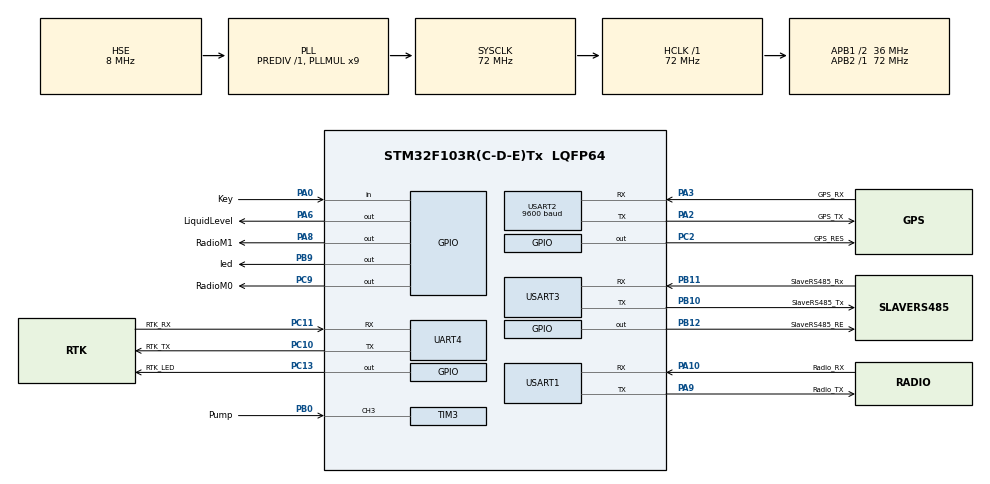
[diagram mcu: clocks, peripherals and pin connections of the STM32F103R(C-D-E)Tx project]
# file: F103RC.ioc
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Dma.Request0=USART1_RX
Dma.Request1=USART1_TX
Dma.Request2=USART3_TX
Dma.Request3=USART3_RX
Dma.Request4=UART4_TX
Dma.Request5=UART4_RX
Dma.UART4_RX.5.Direction=DMA_PERIPH_TO_MEMORY
Dma.UART4_RX.5.Instance=DMA2_Channel3
Dma.UART4_RX.5.MemDataAlignment=DMA_MDATAALIGN_BYTE
Dma.UART4_RX.5.MemInc=DMA_MINC_ENABLE
Dma.UART4_RX.5.Mode=DMA_NORMAL
Dma.UART4_RX.5.PeriphDataAlignment=DMA_PDATAALIGN_BYTE
Dma.UART4_RX.5.PeriphInc=DMA_PINC_DISABLE
Dma.UART4_RX.5.Priority=DMA_PRIORITY_LOW
Dma.UART4_TX.4.Direction=DMA_MEMORY_TO_PERIPH
Dma.UART4_TX.4.Instance=DMA2_Channel5
Dma.UART4_TX.4.MemDataAlignment=DMA_MDATAALIGN_BYTE
Dma.UART4_TX.4.MemInc=DMA_MINC_ENABLE
Dma.UART4_TX.4.Mode=DMA_NORMAL
Dma.UART4_TX.4.PeriphDataAlignment=DMA_PDATAALIGN_BYTE
Dma.UART4_TX.4.PeriphInc=DMA_PINC_DISABLE
Dma.UART4_TX.4.Priority=DMA_PRIORITY_LOW
Dma.USART1_RX.0.Direction=DMA_PERIPH_TO_MEMORY
Dma.USART1_RX.0.Instance=DMA1_Channel5
Dma.USART1_RX.0.MemDataAlignment=DMA_MDATAALIGN_BYTE
Dma.USART1_RX.0.MemInc=DMA_MINC_ENABLE
Dma.USART1_RX.0.Mode=DMA_NORMAL
Dma.USART1_RX.0.PeriphDataAlignment=DMA_PDATAALIGN_BYTE
Dma.USART1_RX.0.PeriphInc=DMA_PINC_DISABLE
Dma.USART1_RX.0.Priority=DMA_PRIORITY_LOW
Dma.USART1_TX.1.Direction=DMA_MEMORY_TO_PERIPH
Dma.USART1_TX.1.Instance=DMA1_Channel4
Dma.USART1_TX.1.MemDataAlignment=DMA_MDATAALIGN_BYTE
Dma.USART1_TX.1.MemInc=DMA_MINC_ENABLE
Dma.USART1_TX.1.Mode=DMA_NORMAL
Dma.USART1_TX.1.PeriphDataAlignment=DMA_PDATAALIGN_BYTE
Dma.USART1_TX.1.PeriphInc=DMA_PINC_DISABLE
Dma.USART1_TX.1.Priority=DMA_PRIORITY_LOW
Dma.USART3_RX.3.Direction=DMA_PERIPH_TO_MEMORY
Dma.USART3_RX.3.Instance=DMA1_Channel3
Dma.USART3_RX.3.MemDataAlignment=DMA_MDATAALIGN_BYTE
Dma.USART3_RX.3.MemInc=DMA_MINC_ENABLE
Dma.USART3_RX.3.Mode=DMA_NORMAL
Dma.USART3_RX.3.PeriphDataAlignment=DMA_PDATAALIGN_BYTE
Dma.USART3_RX.3.PeriphInc=DMA_PINC_DISABLE
Dma.USART3_RX.3.Priority=DMA_PRIORITY_LOW
Dma.USART3_TX.2.Direction=DMA_MEMORY_TO_PERIPH
Dma.USART3_TX.2.Instance=DMA1_Channel2
Dma.USART3_TX.2.MemDataAlignment=DMA_MDATAALIGN_BYTE
Dma.USART3_TX.2.MemInc=DMA_MINC_ENABLE
Dma.USART3_TX.2.Mode=DMA_NORMAL
Dma.USART3_TX.2.PeriphDataAlignment=DMA_PDATAALIGN_BYTE
Dma.USART3_TX.2.PeriphInc=DMA_PINC_DISABLE
Dma.USART3_TX.2.Priority=DMA_PRIORITY_LOW
FREERTOS.BinarySemaphores01=UpperComBinSem,Dynamic,NULL;UARTControlBinSem,Dynamic,NULL;PumpOffBinSem,Dynamic,NULL;UpperRTK_BinSem,Dynamic,NULL;RecCoordBinSem,Dynamic,NULL
FREERTOS.Tasks01=SlaveContTask,2,1024,StartSlaveControlTask,Default,NULL,Dynamic,NULL,NULL;EXTIISRTask,1,512,StartEXTIISRTask,Default,NULL,Dynamic,NULL,NULL;IWDGTask,-2,128,StartIWDGTask,Default,NULL,Dynamic,NULL,NULL
FREERTOS.Timers01=UpperRTK_Timer,UpperRTK_TimerCallback,osTimerOnce,Default,NULL,Dynamic,NULL
FREERTOS.configGENERATE_RUN_TIME_STATS=1
FREERTOS.configTOTAL_HEAP_SIZE=30720
FREERTOS.configUSE_STATS_FORMATTING_FUNCTIONS=1
FREERTOS.configUSE_TIMERS=1
FREERTOS.configUSE_TRACE_FACILITY=1
IWDG.Prescaler=IWDG_PRESCALER_64
IWDG.Reload=1875
Mcu.Family=STM32F1
Mcu.Name=STM32F103R(C-D-E)Tx
Mcu.Package=LQFP64
NVIC.DMA1_Channel2_IRQn=true\:5\:0\:false\:false\:true\:true\:false\:true\:true
NVIC.DMA1_Channel3_IRQn=true\:5\:0\:false\:false\:true\:true\:false\:true\:true
NVIC.DMA1_Channel4_IRQn=true\:5\:0\:false\:false\:true\:true\:false\:true\:true
NVIC.DMA1_Channel5_IRQn=true\:5\:0\:false\:false\:true\:true\:false\:true\:true
NVIC.DMA2_Channel3_IRQn=true\:5\:0\:false\:false\:true\:true\:false\:true\:true
NVIC.DMA2_Channel4_5_IRQn=true\:5\:0\:false\:false\:true\:true\:false\:true\:true
NVIC.PriorityGroup=NVIC_PRIORITYGROUP_4
NVIC.TIM3_IRQn=true\:5\:0\:false\:false\:true\:true\:true\:true\:true
NVIC.TIM4_IRQn=true\:6\:0\:true\:false\:true\:true\:true\:true\:true
NVIC.TIM6_IRQn=true\:15\:0\:false\:false\:true\:false\:false\:true\:true
NVIC.TIM7_IRQn=true\:11\:0\:true\:false\:true\:true\:true\:true\:true
NVIC.TimeBase=TIM6_IRQn
NVIC.TimeBaseIP=TIM6
NVIC.UART4_IRQn=true\:7\:0\:true\:false\:true\:true\:true\:true\:true
NVIC.USART1_IRQn=true\:10\:0\:true\:false\:true\:true\:true\:true\:true
NVIC.USART2_IRQn=true\:6\:0\:true\:false\:true\:true\:true\:true\:true
NVIC.USART3_IRQn=true\:9\:0\:true\:false\:true\:true\:true\:true\:true
PA0-WKUP.GPIO_Label=Key
PA0-WKUP.GPIO_PuPd=GPIO_PULLDOWN
PA0-WKUP.Signal=GPIO_Input
PA10.GPIO_Label=Radio_RX
PA10.GPIO_PuPd=GPIO_PULLUP
PA10.Mode=Asynchronous
PA10.Signal=USART1_RX
PA13.Mode=Serial_Wire
PA13.Signal=SYS_JTMS-SWDIO
PA14.Mode=Serial_Wire
PA14.Signal=SYS_JTCK-SWCLK
PA2.GPIO_Label=GPS_TX
PA2.Mode=Asynchronous
PA2.Signal=USART2_TX
PA3.GPIO_Label=GPS_RX
PA3.GPIO_PuPd=GPIO_PULLUP
PA3.Mode=Asynchronous
PA3.Signal=USART2_RX
PA6.GPIO_Label=LiquidLevel
PA6.GPIO_PuPd=GPIO_PULLUP
PA6.GPIO_Speed=GPIO_SPEED_FREQ_HIGH
PA6.Signal=GPIO_Output
PA8.GPIO_Label=RadioM1
PA8.GPIO_PuPd=GPIO_PULLUP
PA8.GPIO_Speed=GPIO_SPEED_FREQ_HIGH
PA8.Signal=GPIO_Output
PA9.GPIO_Label=Radio_TX
PA9.Mode=Asynchronous
PA9.Signal=USART1_TX
PB0.GPIO_Label=Pump
PB0.GPIO_PuPd=GPIO_PULLDOWN
PB0.Signal=S_TIM3_CH3
PB10.GPIO_Label=SlaveRS485_Tx
PB10.Mode=Asynchronous
PB10.Signal=USART3_TX
PB11.GPIO_Label=SlaveRS485_Rx
PB11.GPIO_PuPd=GPIO_PULLUP
PB11.Mode=Asynchronous
PB11.Signal=USART3_RX
PB12.GPIO_Label=SlaveRS485_RE
PB12.GPIO_PuPd=GPIO_PULLUP
PB12.GPIO_Speed=GPIO_SPEED_FREQ_HIGH
PB12.Signal=GPIO_Output
PB9.GPIO_Label=led
PB9.GPIO_Speed=GPIO_SPEED_FREQ_HIGH
PB9.Signal=GPIO_Output
PC10.GPIO_Label=RTK_TX
PC10.Mode=Asynchronous
PC10.Signal=UART4_TX
PC11.GPIO_Label=RTK_RX
PC11.GPIO_PuPd=GPIO_PULLUP
PC11.Mode=Asynchronous
PC11.Signal=UART4_RX
PC13-TAMPER-RTC.GPIO_Label=RTK_LED
PC13-TAMPER-RTC.GPIO_PuPd=GPIO_PULLUP
PC13-TAMPER-RTC.GPIO_Speed=GPIO_SPEED_FREQ_HIGH
PC13-TAMPER-RTC.Signal=GPIO_Output
PC2.GPIO_Label=GPS_RES
PC2.GPIO_PuPd=GPIO_PULLUP
PC2.GPIO_Speed=GPIO_SPEED_FREQ_HIGH
PC2.PinState=GPIO_PIN_SET
PC2.Signal=GPIO_Output
PC9.GPIO_Label=RadioM0
PC9.GPIO_PuPd=GPIO_PULLUP
PC9.GPIO_Speed=GPIO_SPEED_FREQ_HIGH
PC9.Signal=GPIO_Output
PD0-OSC_IN.Mode=HSE-External-Oscillator
PD0-OSC_IN.Signal=RCC_OSC_IN
PD1-OSC_OUT.Mode=HSE-External-Oscillator
PD1-OSC_OUT.Signal=RCC_OSC_OUT
ProjectManager.HeapSize=0x200
ProjectManager.StackSize=0x400
ProjectManager.TargetToolchain=MDK-ARM V5.32
RCC.AHBFreq_Value=72000000
RCC.APB1CLKDivider=RCC_HCLK_DIV2
RCC.APB1Freq_Value=36000000
RCC.APB1TimFreq_Value=72000000
RCC.APB2Freq_Value=72000000
RCC.APB2TimFreq_Value=72000000
RCC.HCLKFreq_Value=72000000
RCC.PLLMUL=RCC_PLL_MUL9
RCC.PLLSourceVirtual=RCC_PLLSOURCE_HSE
RCC.SYSCLKFreq_VALUE=72000000
RCC.SYSCLKSource=RCC_SYSCLKSOURCE_PLLCLK
RCC.USBFreq_Value=72000000
SH.S_TIM3_CH3.0=TIM3_CH3,Input_Capture3_from_TI3
TIM3.AutoReloadPreload=TIM_AUTORELOAD_PRELOAD_ENABLE
TIM3.Channel-Input_Capture3_from_TI3=TIM_CHANNEL_3
TIM3.ICFilter_CH3=15
TIM3.Prescaler=72-1
TIM4.AutoReloadPreload=TIM_AUTORELOAD_PRELOAD_ENABLE
TIM4.Period=100-1
TIM4.Prescaler=72-1
TIM7.Period=10000-1
TIM7.Prescaler=72-1
UART4.VirtualMode=Asynchronous
USART1.VirtualMode=VM_ASYNC
USART2.BaudRate=9600
USART2.VirtualMode=VM_ASYNC
USART3.VirtualMode=VM_ASYNC
VP_FREERTOS_VS_CMSIS_V1.Mode=CMSIS_V1
VP_IWDG_VS_IWDG.Mode=IWDG_Activate
VP_SYS_VS_tim6.Mode=TIM6
VP_TIM3_VS_ClockSourceINT.Mode=Internal
VP_TIM4_VS_ClockSourceINT.Mode=Internal
VP_TIM7_VS_ClockSourceINT.Mode=Enable_Timer
board=custom

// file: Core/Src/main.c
/* USER CODE BEGIN Header */
/**
  ******************************************************************************
  * @file           : main.c
  * @brief          : Main program body
  ******************************************************************************
  * @attention
  *
  * Copyright (c) 2024 STMicroelectronics.
  * All rights reserved.
  *
  * This software is licensed under terms that can be found in the LICENSE file
  * in the root directory of this software component.
  * If no LICENSE file comes with this software, it is provided AS-IS.
  *
  ******************************************************************************
  */
/* USER CODE END Header */
#include "main.h"
#include "cmsis_os.h"
#include "dma.h"
#include "iwdg.h"
#include "tim.h"
#include "usart.h"
#include "gpio.h"

/* USER CODE BEGIN Includes */
#include "Slave_USART.h"
#include "UpperCom_USART.h"
#include "tim_it.h"
#include "RTK_usart_it.h"
#include "flash.h"
#include "map_data.h"
#include <string.h>
/* USER CODE END Includes */

/* USER CODE BEGIN PTD */
RunGuidance_Structure RunGuidance_Struct;
/* USER CODE END PTD */

/* USER CODE BEGIN PV */
uint32_t g_osRuntimeCounter = 0;
char g_tasks_buf[512]; //用于存放显示数据
/* USER CODE END PV */

void SystemClock_Config(void);
void MX_FREERTOS_Init(void);

int main(void)
{

  /* MCU Configuration--------------------------------------------------------*/

  /* Reset of all peripherals, Initializes the Flash interface and the Systick. */
  HAL_Init();

  /* Configure the system clock */
  SystemClock_Config();

  /* Initialize all configured peripherals */
  MX_GPIO_Init();
  MX_DMA_Init();
  MX_USART1_UART_Init();
  MX_IWDG_Init();
  MX_USART3_UART_Init();
  MX_TIM3_Init();
  MX_TIM7_Init();
  MX_UART4_Init();
  MX_USART2_UART_Init();
  MX_TIM4_Init();
  /* USER CODE BEGIN 2 */
    __HAL_UART_ENABLE_IT(&huart1, UART_IT_IDLE);
    HAL_UART_Receive_DMA(&huart1, UART1_RxStruct.Rx_Buff, 200);

    __HAL_UART_ENABLE_IT(&huart3, UART_IT_IDLE);
    HAL_UART_Receive_DMA(&huart3, USART3_RxStruct.Rx_Buff, 200);

    __HAL_UART_ENABLE_IT(&huart4, UART_IT_IDLE);
    HAL_UART_Receive_DMA(&huart4, USART4_RxStruct.Rx_Buff, 200);

    HAL_TIM_Base_Start_IT(&htim7);
    HAL_TIM_Base_Start_IT(&htim4); //开启freeRtos系统计数定时器，要求中断时间至少为100us

    //开启定时器输入捕获和更新中断
    HAL_TIM_IC_Start_IT(&htim3, TIM_CHANNEL_3);
    __HAL_TIM_ENABLE_IT(&htim3, TIM_IT_UPDATE);

    HAL_UART_Transmit(&huart4, (uint8_t*)"重启系统\r\n", strlen((char*)"重启系统\r\n"),1000);

  /* USER CODE END 2 */

  /* Call init function for freertos objects (in freertos.c) */
  MX_FREERTOS_Init();

  /* Start scheduler */
  osKernelStart();
  /* We should never get here as control is now taken by the scheduler */
  /* Infinite loop */
    while (1)
    {

    }
}

void SystemClock_Config(void)
{
  RCC_OscInitTypeDef RCC_OscInitStruct = {0};
  RCC_ClkInitTypeDef RCC_ClkInitStruct = {0};

  /** Initializes the RCC Oscillators according to the specified parameters
  * in the RCC_OscInitTypeDef structure.
  */
  RCC_OscInitStruct.OscillatorType = RCC_OSCILLATORTYPE_LSI|RCC_OSCILLATORTYPE_HSE;
  RCC_OscInitStruct.HSEState = RCC_HSE_ON;
  RCC_OscInitStruct.HSEPredivValue = RCC_HSE_PREDIV_DIV1;
  RCC_OscInitStruct.HSIState = RCC_HSI_ON;
  RCC_OscInitStruct.LSIState = RCC_LSI_ON;
  RCC_OscInitStruct.PLL.PLLState = RCC_PLL_ON;
  RCC_OscInitStruct.PLL.PLLSource = RCC_PLLSOURCE_HSE;
  RCC_OscInitStruct.PLL.PLLMUL = RCC_PLL_MUL9;
  if (HAL_RCC_OscConfig(&RCC_OscInitStruct) != HAL_OK)
  {
    Error_Handler();
  }

  /** Initializes the CPU, AHB and APB buses clocks
  */
  RCC_ClkInitStruct.ClockType = RCC_CLOCKTYPE_HCLK|RCC_CLOCKTYPE_SYSCLK
                              |RCC_CLOCKTYPE_PCLK1|RCC_CLOCKTYPE_PCLK2;
  RCC_ClkInitStruct.SYSCLKSource = RCC_SYSCLKSOURCE_PLLCLK;
  RCC_ClkInitStruct.AHBCLKDivider = RCC_SYSCLK_DIV1;
  RCC_ClkInitStruct.APB1CLKDivider = RCC_HCLK_DIV2;
  RCC_ClkInitStruct.APB2CLKDivider = RCC_HCLK_DIV1;

  if (HAL_RCC_ClockConfig(&RCC_ClkInitStruct, FLASH_LATENCY_2) != HAL_OK)
  {
    Error_Handler();
  }
}

void HAL_TIM_PeriodElapsedCallback(TIM_HandleTypeDef *htim)
{
  if (htim->Instance == TIM6) {
    HAL_IncTick();
  }
  /* USER CODE BEGIN Callback 1 */
    if (htim->Instance == TIM7)
    {
        TIM7_PeriodElapsedCallback();
    }

    if (htim->Instance == TIM4) {

        g_osRuntimeCounter ++;

    }
  /* USER CODE END Callback 1 */
}

void Error_Handler(void)
{
    __disable_irq();
    while (1)
    {
    }
}

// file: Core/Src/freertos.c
/* USER CODE BEGIN Header */
/**
  ******************************************************************************
  * File Name          : freertos.c
  * Description        : Code for freertos applications
  ******************************************************************************
  * @attention
  *
  * Copyright (c) 2024 STMicroelectronics.
  * All rights reserved.
  *
  * This software is licensed under terms that can be found in the LICENSE file
  * in the root directory of this software component.
  * If no LICENSE file comes with this software, it is provided AS-IS.
  *
  ******************************************************************************
  */
/* USER CODE END Header */

#include "FreeRTOS.h"
#include "task.h"
#include "main.h"
#include "cmsis_os.h"

/* USER CODE BEGIN Includes */
#include "Slave_USART.h"
#include "UpperCom_USART.h"
#include "iwdg.h"
#include <string.h>
#include "GPS.h"
#include "system.h"
#include "RTK_usart_it.h"
#include "EdgeProcessing.h"
#include "RTK_usart_it.h"
#include "map_data.h"
#include <stdio.h>
/* USER CODE END Includes */

/* USER CODE BEGIN PTD */

extern double RTK_Longitude;
extern double RTK_Latitude;
extern double RTK_CourseAngle;
/* USER CODE END PTD */

/* USER CODE BEGIN PD */
//事件组标志
#define IWDG_Event_1 (0x01<<0)
#define IWDG_Event_2 (0x01<<1)
/* USER CODE END PD */

/* USER CODE BEGIN Variables */
EventGroupHandle_t IWDG_Event;//创建句柄
/* USER CODE END Variables */
osThreadId SlaveContTaskHandle;
osThreadId EXTIISRTaskHandle;
osThreadId IWDGTaskHandle;
osTimerId UpperRTK_TimerHandle;
osSemaphoreId UpperComBinSemHandle;
osSemaphoreId UARTControlBinSemHandle;
osSemaphoreId PumpOffBinSemHandle;
osSemaphoreId UpperRTK_BinSemHandle;
osSemaphoreId RecCoordBinSemHandle;

void StartSlaveControlTask(void const * argument);
void StartEXTIISRTask(void const * argument);
void StartIWDGTask(void const * argument);
void UpperRTK_TimerCallback(void const * argument);

void MX_FREERTOS_Init(void); /* (MISRA C 2004 rule 8.1) */

/* GetIdleTaskMemory prototype (linked to static allocation support) */
void vApplicationGetIdleTaskMemory( StaticTask_t **ppxIdleTaskTCBBuffer, StackType_t **ppxIdleTaskStackBuffer, uint32_t *pulIdleTaskStackSize );

/* GetTimerTaskMemory prototype (linked to static allocation support) */
void vApplicationGetTimerTaskMemory( StaticTask_t **ppxTimerTaskTCBBuffer, StackType_t **ppxTimerTaskStackBuffer, uint32_t *pulTimerTaskStackSize );

/* Hook prototypes */
void configureTimerForRunTimeStats(void);
unsigned long getRunTimeCounterValue(void);

/* USER CODE BEGIN 1 */
extern uint32_t g_osRuntimeCounter;
/* Functions needed when configGENERATE_RUN_TIME_STATS is on */
__weak void configureTimerForRunTimeStats(void)
{
    g_osRuntimeCounter = 0;
}

__weak unsigned long getRunTimeCounterValue(void)
{
    return g_osRuntimeCounter;
}

extern char g_tasks_buf[512]; //用于存放显示数据
void debugShowOSTasksLists(void)
{

#if ( ( configUSE_TRACE_FACILITY == 1 ) && ( configUSE_STATS_FORMATTING_FUNCTIONS > 0 ) )

memset(g_tasks_buf, 0, 512);

strcat((char *)g_tasks_buf, "\r\n任务名称 运行状态 优先级 剩余堆栈 任务序号\r\n" );

strcat((char *)g_tasks_buf, "---------------------------------------------\r\n");

/* The list of tasks and their status */

//osThreadList ((char *)(g_tasks_buf + strlen(g_tasks_buf)));

vTaskList((char *)(g_tasks_buf + strlen(g_tasks_buf)));

strcat((char *)g_tasks_buf, "---------------------------------------------\r\n");

//strcat((char *)g_tasks_buf, "B : Blocked, R : Ready, D : Deleted, S : Suspended\r\n");

strcat((char *)g_tasks_buf, "B : 阻塞, R : 就绪, D : 删除, S : 暂停\r\n");

HAL_UART_Transmit(&huart4, (uint8_t *)g_tasks_buf, strlen((char*)(uint8_t *)g_tasks_buf),1000);

#endif

}

void debugShowOSTasksRunTimeStats(void)
{

#if ( ( configGENERATE_RUN_TIME_STATS == 1 ) && ( configUSE_STATS_FORMATTING_FUNCTIONS > 0 ) )

memset(g_tasks_buf, 0, 512);

strcat((char *)g_tasks_buf, "\r\n任务名称\t运行计数\t使用率\r\n" );

strcat((char *)g_tasks_buf, "---------------------------------------------\r\n");

/* displays the amount of time each task has spent in the Running state

* in both absolute and percentage terms. */

vTaskGetRunTimeStats((char *)(g_tasks_buf + strlen(g_tasks_buf)));

strcat((char *)g_tasks_buf, "---------------------------------------------\r\n");

HAL_UART_Transmit(&huart4, (uint8_t *)g_tasks_buf, strlen((char*)(uint8_t *)g_tasks_buf),1000);

#endif

}
/* USER CODE END 1 */

/* USER CODE BEGIN GET_IDLE_TASK_MEMORY */
static StaticTask_t xIdleTaskTCBBuffer;
static StackType_t xIdleStack[configMINIMAL_STACK_SIZE];

void vApplicationGetIdleTaskMemory(StaticTask_t** ppxIdleTaskTCBBuffer, StackType_t** ppxIdleTaskStackBuffer, uint32_t* pulIdleTaskStackSize)
{
    *ppxIdleTaskTCBBuffer = &xIdleTaskTCBBuffer;
    *ppxIdleTaskStackBuffer = &xIdleStack[0];
    *pulIdleTaskStackSize = configMINIMAL_STACK_SIZE;
    /* place for user code */
}
/* USER CODE END GET_IDLE_TASK_MEMORY */

/* USER CODE BEGIN GET_TIMER_TASK_MEMORY */
static StaticTask_t xTimerTaskTCBBuffer;
static StackType_t xTimerStack[configTIMER_TASK_STACK_DEPTH];

void vApplicationGetTimerTaskMemory( StaticTask_t **ppxTimerTaskTCBBuffer, StackType_t **ppxTimerTaskStackBuffer, uint32_t *pulTimerTaskStackSize )
{
  *ppxTimerTaskTCBBuffer = &xTimerTaskTCBBuffer;
  *ppxTimerTaskStackBuffer = &xTimerStack[0];
  *pulTimerTaskStackSize = configTIMER_TASK_STACK_DEPTH;
  /* place for user code */
}
/* USER CODE END GET_TIMER_TASK_MEMORY */

void MX_FREERTOS_Init(void) {
  /* USER CODE BEGIN Init */
    IWDG_Event = xEventGroupCreate(); //创建事件组
  /* USER CODE END Init */

  /* Create the semaphores(s) */
  /* definition and creation of UpperComBinSem */
  osSemaphoreDef(UpperComBinSem);
  UpperComBinSemHandle = osSemaphoreCreate(osSemaphore(UpperComBinSem), 1);

  /* definition and creation of UARTControlBinSem */
  osSemaphoreDef(UARTControlBinSem);
  UARTControlBinSemHandle = osSemaphoreCreate(osSemaphore(UARTControlBinSem), 1);

  /* definition and creation of PumpOffBinSem */
  osSemaphoreDef(PumpOffBinSem);
  PumpOffBinSemHandle = osSemaphoreCreate(osSemaphore(PumpOffBinSem), 1);

  /* definition and creation of UpperRTK_BinSem */
  osSemaphoreDef(UpperRTK_BinSem);
  UpperRTK_BinSemHandle = osSemaphoreCreate(osSemaphore(UpperRTK_BinSem), 1);

  /* definition and creation of RecCoordBinSem */
  osSemaphoreDef(RecCoordBinSem);
  RecCoordBinSemHandle = osSemaphoreCreate(osSemaphore(RecCoordBinSem), 1);

  /* USER CODE BEGIN RTOS_SEMAPHORES */
      /* add semaphores, ... */
      //提前将信号量消耗
      osSemaphoreWait(RecCoordBinSemHandle, 0);
  /* USER CODE END RTOS_SEMAPHORES */

  /* Create the timer(s) */
  /* definition and creation of UpperRTK_Timer */
  osTimerDef(UpperRTK_Timer, UpperRTK_TimerCallback);
  UpperRTK_TimerHandle = osTimerCreate(osTimer(UpperRTK_Timer), osTimerOnce, NULL);

  /* Create the thread(s) */
  /* definition and creation of SlaveContTask */
  osThreadDef(SlaveContTask, StartSlaveControlTask, osPriorityHigh, 0, 1024);
  SlaveContTaskHandle = osThreadCreate(osThread(SlaveContTask), NULL);

  /* definition and creation of EXTIISRTask */
  osThreadDef(EXTIISRTask, StartEXTIISRTask, osPriorityAboveNormal, 0, 512);
  EXTIISRTaskHandle = osThreadCreate(osThread(EXTIISRTask), NULL);

  /* definition and creation of IWDGTask */
  osThreadDef(IWDGTask, StartIWDGTask, osPriorityLow, 0, 128);
  IWDGTaskHandle = osThreadCreate(osThread(IWDGTask), NULL);

}

/* USER CODE BEGIN Header_StartSlaveControlTask */
/**
  * @brief  Function implementing the SlaveContTask thread.
  * @param  argument: Not used
  * @retval None
  */
extern//上传标志位
uint8_t UpFlag;
extern
float RTK_Speed;

//Spacing默认是0.15m
float LSpacing = 0.15;
/* USER CODE END Header_StartSlaveControlTask */
void StartSlaveControlTask(void const * argument)
{
  /* USER CODE BEGIN StartSlaveControlTask */
    static uint8_t Stop_n = 0;

    osThreadSuspend(EXTIISRTaskHandle);
    //初始化GPS
    GPS_Init();

	//初始化边缘数据
    EdgeComputing_Init();
    osThreadResume(EXTIISRTaskHandle);

    #include "tim.h"
    //开启定时器输入捕获和更新中断
    HAL_TIM_IC_Start_IT(&htim3, TIM_CHANNEL_3);
    __HAL_TIM_ENABLE_IT(&htim3, TIM_IT_UPDATE);

    hiwdg.Instance = IWDG;
    hiwdg.Init.Prescaler = IWDG_PRESCALER_64;
    hiwdg.Init.Reload = 1875;
    if (HAL_IWDG_Init(&hiwdg) != HAL_OK)
    {
        Error_Handler();
    }

    /* Infinite loop */
    for (;;)
    {
        //标记事件组
        xEventGroupSetBits(IWDG_Event, IWDG_Event_1);

		static uint16_t xxx = 0;
        //水泵开启时
        if (RunGuidance_Struct.SysBeng == 1)
//        if(1)
        {
            float speed = RTK_Speed*0.5144;//m.s

            /*
            0.1     快了，但是不能减小了
            0.2     快了，但是不能减小了
            0.3     快了，还是不减小好
            0.4     快了，可以-1
            0.5     快了，-1刚好
            0.6     快了，-1刚好
            0.7     快了，-1刚好
            0.8     快了，-1刚好
            0.9     快了，-1刚好
            1.0     快了，-1刚好
            1.1     快了，-1刚好
            1.2     快了，-1刚好
            */

            /*
            0.1     慢了，四舍五入又快了，-1四舍五入好一点
            0.2     快了，但是不能减小了
            0.3     慢了，四舍五入又快了
            0.4     快了，差不多
            0.5     刚好
            0.6     快了
            0.7     快了，-1刚好
            0.8     快了，-1刚好
            0.9     快了，-1刚好
            1.0     快了，-1刚好
            1.1     快了，-1刚好
            1.2     快了，-1刚好
            */
//            speed=1;
            float value;
            value = 50*(speed/LSpacing)/10.0;

            //适当补偿
            if(LSpacing == 0.1)
                if(speed > 0.3)
                    value = value - 1;

                //四舍五入，要快不要慢
            if(LSpacing == 0.2 || LSpacing == 0.15)
                value = value + 0.5;

			if(value > 0x40)
			{
				value = 0x40;
			}
//			value=0x30;
            TaskSendSpeed(value);

			Stop_n = 1;
			xxx=0;
        }
        else//停止信号
        {
			xxx++;
            if (xxx ==10 && Stop_n == 1)
            {
				xxx=0;

                Stop_n = 0;
                TaskSendSpeed(0);
                osDelay(10);
                //标记事件组
                xEventGroupSetBits(IWDG_Event, IWDG_Event_1);
            }
			TaskSendRead();
        }

        #if 0
        //任务监测
        debugShowOSTasksLists();
        debugShowOSTasksRunTimeStats();
        #endif

        //边缘计算
        EdgeComputing(&LocationJudging_Struct);

        osDelay(1);

        /*
        #include <stdio.h>
//        osDelay(200);

        uint8_t *p1;
        uint8_t *p2;

        p1 = pvPortMalloc(1);
        sprintf((char*)p1,"p1 1234567890：%d\r\np1地址:0x%p p1你干嘛哎哟，草泥马\r\n",xPortGetFreeHeapSize(),p1);

        p2 = pvPortMalloc(1);
        sprintf((char*)p2,"p2 1234567890：%d\r\np2地址:0x%p p2你干嘛哎哟，草泥马\r\n\r\n",xPortGetFreeHeapSize(),p2);

        HAL_UART_Transmit(&huart4, p1, strlen((char*)p1),1000);
        HAL_UART_Transmit(&huart4, p2, strlen((char*)p2),1000);

        vPortFree(p1);
        vPortFree(p2);
        */

    }
  /* USER CODE END StartSlaveControlTask */
}

void StartEXTIISRTask(void const * argument)
{
  /* USER CODE BEGIN StartEXTIISRTask */
      /* Infinite loop */
    for (;;)
    {
        //标记事件组
        xEventGroupSetBits(IWDG_Event, IWDG_Event_2);

        if (osOK == osSemaphoreWait(UARTControlBinSemHandle, 0))
        {
            for (uint8_t i = 0; i < 4; i++)
            {
                uint8_t SpeedTemp;
                Slave_number = i + 1;
                if ((UARTControl_Stru.ButBit >> i) & 0x01)
                {
                    SpeedTemp = UARTControl_Stru.ControlSpeed;
                }
                else
                {
                    SpeedTemp = 0;
                }
                taskENTER_CRITICAL();
                UARTControl_Stru.Dir = 0xc1;
                SendSlaveSpeed(Slave_number, SpeedTemp,UARTControl_Stru.Dir);
				osDelay(5);
				SendSlaveSpeed(Slave_number, SpeedTemp,UARTControl_Stru.Dir);
				osDelay(5);
				SendSlaveSpeed(Slave_number, SpeedTemp,UARTControl_Stru.Dir);
				osDelay(5);
				SendSlaveSpeed(Slave_number, SpeedTemp,UARTControl_Stru.Dir);
				osDelay(5);
				SendSlaveSpeed(Slave_number, SpeedTemp,UARTControl_Stru.Dir);
				osDelay(5);
				SendSlaveSpeed(Slave_number, SpeedTemp,UARTControl_Stru.Dir);
				osDelay(5);
                taskEXIT_CRITICAL();
                //osDelay(5);
            }
        }

        if (osOK == osSemaphoreWait(UpperComBinSemHandle, 0))
        {
            //向上位机发送数据
            //解析GPS（RTK已代替）
            parseGNRMC(&GPS_Struct);

            taskENTER_CRITICAL();
            SendSlaveUpperComData();
            taskEXIT_CRITICAL();
        }

        if (osOK == osSemaphoreWait(UpperRTK_BinSemHandle, 0))
        {
            //上传RTK配置
            //HAL_GPIO_TogglePin(led_GPIO_Port, led_Pin);
        }

        //记录坐标
        if (osOK == osSemaphoreWait(RecCoordBinSemHandle, 0))
        {
            HAL_GPIO_TogglePin(led_GPIO_Port,led_Pin);
            taskENTER_CRITICAL();

            NumberOfRec++;
            WriteLonAndLat(NumberOfRec,NumberOfRec,
                dms_to_degrees(RTK_Longitude),dms_to_degrees(RTK_Latitude));

            ReadMapDataStrutcure pStrutc = ReadLonAndLat();

            uint8_t str[100];

            sprintf((char*)str,"总共有 %d 个坐标\r\n",pStrutc.num);
            HAL_UART_Transmit(&huart4, str, strlen((char*)str),1000);
            for(uint8_t i = 0;i<pStrutc.num;i++)
            {
                sprintf((char*)str,"第%d个点 : %lf,",i+1,pStrutc.lon[i]);
                HAL_UART_Transmit(&huart4, str, strlen((char*)str),1000);

                sprintf((char*)str,"%lf\r\n",pStrutc.lat[i]);
                HAL_UART_Transmit(&huart4, str, strlen((char*)str),1000);
            }

            EdgeComputing_Init();

            taskEXIT_CRITICAL();
        }

        osDelay(1);
    }
  /* USER CODE END StartEXTIISRTask */
}

void StartIWDGTask(void const * argument)
{
  /* USER CODE BEGIN StartIWDGTask */
    EventBits_t IWDG_EventBits;
    /* Infinite loop */
    for (;;)
    {
        //1.句柄；2.哪些位；3.读完清零；4.全部有效(与逻辑)；5.等待时间
        IWDG_EventBits = xEventGroupWaitBits(IWDG_Event, IWDG_Event_1 | IWDG_Event_2, pdTRUE, pdTRUE, osWaitForever);

        if ((IWDG_EventBits & (IWDG_Event_1 | IWDG_Event_2)) == (IWDG_Event_1 | IWDG_Event_2))
        {
            /* 如果接收完成并且正确 */
            HAL_IWDG_Refresh(&hiwdg);
        }
    }
  /* USER CODE END StartIWDGTask */
}

/* UpperRTK_TimerCallback function */
void UpperRTK_TimerCallback(void const * argument)
{
  /* USER CODE BEGIN UpperRTK_TimerCallback */
    osSemaphoreRelease(UpperRTK_BinSemHandle);//释放RTK反馈信号量
  /* USER CODE END UpperRTK_TimerCallback */
}
